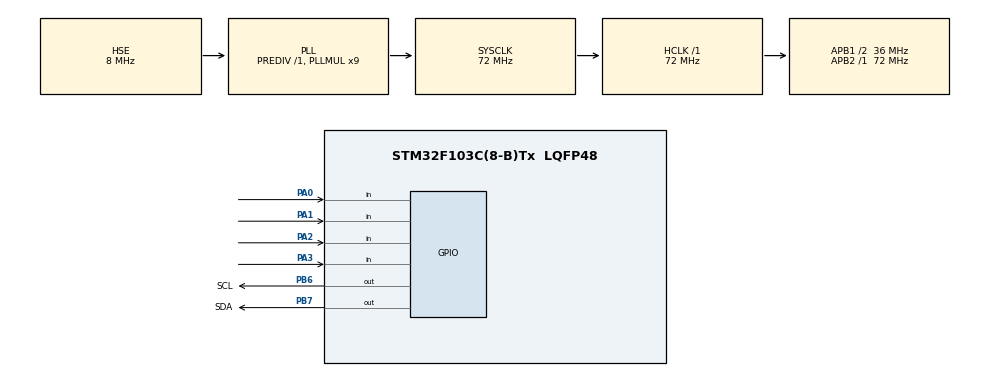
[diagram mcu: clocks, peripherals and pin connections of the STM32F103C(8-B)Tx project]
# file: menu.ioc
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Mcu.Family=STM32F1
Mcu.Name=STM32F103C(8-B)Tx
Mcu.Package=LQFP48
NVIC.PriorityGroup=NVIC_PRIORITYGROUP_4
PA0-WKUP.GPIO_PuPd=GPIO_PULLUP
PA0-WKUP.Signal=GPIO_Input
PA1.GPIO_PuPd=GPIO_PULLUP
PA1.Signal=GPIO_Input
PA2.GPIO_PuPd=GPIO_PULLUP
PA2.Signal=GPIO_Input
PA3.GPIO_PuPd=GPIO_PULLUP
PA3.Signal=GPIO_Input
PB6.GPIO_Label=SCL
PB6.GPIO_PuPd=GPIO_PULLUP
PB6.GPIO_Speed=GPIO_SPEED_FREQ_HIGH
PB6.PinState=GPIO_PIN_SET
PB6.Signal=GPIO_Output
PB7.GPIO_Label=SDA
PB7.GPIO_PuPd=GPIO_PULLUP
PB7.GPIO_Speed=GPIO_SPEED_FREQ_HIGH
PB7.PinState=GPIO_PIN_SET
PB7.Signal=GPIO_Output
PD0-OSC_IN.Mode=HSE-External-Oscillator
PD0-OSC_IN.Signal=RCC_OSC_IN
PD1-OSC_OUT.Mode=HSE-External-Oscillator
PD1-OSC_OUT.Signal=RCC_OSC_OUT
ProjectManager.HeapSize=0x200
ProjectManager.StackSize=0x400
ProjectManager.TargetToolchain=MDK-ARM V5.32
RCC.AHBFreq_Value=72000000
RCC.APB1CLKDivider=RCC_HCLK_DIV2
RCC.APB1Freq_Value=36000000
RCC.APB1TimFreq_Value=72000000
RCC.APB2Freq_Value=72000000
RCC.APB2TimFreq_Value=72000000
RCC.HCLKFreq_Value=72000000
RCC.PLLMUL=RCC_PLL_MUL9
RCC.PLLSourceVirtual=RCC_PLLSOURCE_HSE
RCC.SYSCLKFreq_VALUE=72000000
RCC.SYSCLKSource=RCC_SYSCLKSOURCE_PLLCLK
RCC.USBFreq_Value=72000000
VP_SYS_VS_ND.Mode=No_Debug
board=custom

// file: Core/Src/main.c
/* USER CODE BEGIN Header */
/**
  ******************************************************************************
  * @file           : main.c
  * @brief          : Main program body
  ******************************************************************************
  * @attention
  *
  * Copyright (c) 2023 STMicroelectronics.
  * All rights reserved.
  *
  * This software is licensed under terms that can be found in the LICENSE file
  * in the root directory of this software component.
  * If no LICENSE file comes with this software, it is provided AS-IS.
  *
  ******************************************************************************
  */
/* USER CODE END Header */
#include "main.h"
#include "gpio.h"

/* USER CODE BEGIN Includes */
#include "oled.h"
/* USER CODE END Includes */

void SystemClock_Config(void);

/* USER CODE BEGIN 0 */
uint8_t Key_scan(void)
{
	uint8_t temp=0;
	if(HAL_GPIO_ReadPin(GPIOA,GPIO_PIN_0)==GPIO_PIN_SET) temp=1;
	if(HAL_GPIO_ReadPin(GPIOA,GPIO_PIN_1)==GPIO_PIN_SET) temp=2;
	if(HAL_GPIO_ReadPin(GPIOA,GPIO_PIN_2)==GPIO_PIN_SET) temp=3;
	if(HAL_GPIO_ReadPin(GPIOA,GPIO_PIN_3)==GPIO_PIN_SET) temp=4;
	return temp;
}

typedef struct
{
	uint8_t current;
	uint8_t down;
	uint8_t up;
	uint8_t enter;
	void (*current_operation)();
}Menu_Info;

Menu_Info Menu[]=
{
	//��һ��
	{0,1,1,2,(*func_a)},
	{1,0,0,7,(*func_b)},

	//�ڶ���
	{2,3,6,0,(*func_a1)},
	{3,4,2,16,(*func_a2)},
	{4,5,3,19,(*func_a3)},
	{5,6,4,22,(*func_a4)},
	{6,2,5,0,(*func_a5)},

	{7,8,11,22,(*func_b1)},
	{8,9,7,25,(*func_b2)},
	{9,10,8,28,(*func_b3)},
	{10,11,9,31,(*func_b4)},
	{11,7,10,1,(*func_b5)},

	//������
	{12,13,14,2,(*func_a11)},
//	{13,14,12,2,(*func_a12)},
//	{14,12,13,2,(*func_a23)},

	{16,17,18,3,(*func_a12)},
//	{17,18,16,3,(*func_a22)},
//	{18,16,17,3,(*func_a23)},

	{19,20,21,4,(*func_a13)},
//	{20,21,19,4,(*func_a42)},
//	{21,19,20,4,(*func_a43)},

	{22,23,24,5,(*func_b14)},
//	{23,24,22,5,(*func_b12)},
//	{24,22,23,5,(*func_b13)},
//

	{25,26,27,6,(*func_b21)},
//	{26,27,25,6,(*func_b22)},
//	{27,25,26,6,(*func_b23)},

	{28,29,30,7,(*func_b22)},
//	{29,30,28,7,(*func_b32)},
//	{30,28,29,7,(*func_b33)},

	{31,32,33,8,(*func_b23)},
//	{32,33,31,8,(*func_b42)},
//	{33,31,32,8,(*func_b43)},

};

void func_a()
{
	OLED_Display_Clear();
	OLED_Display_Buffer(0,0,"Base");
	OLED_Display_Buffer(2,2,"Expand");
	OLED_Display_Buffer(0,13,"<--");
}

void func_b()
{
	OLED_Display_Clear();
	OLED_Display_Buffer(0,0,"base");
	OLED_Display_Buffer(2,2,"expand");
	OLED_Display_Buffer(2,13,"<--");
}

void func_a1()
{
	OLED_Display_Clear();
  OLED_Display_Buffer(0,0,"Reset");
	OLED_Display_Buffer(2,2,"screencircle");
	OLED_Display_Buffer(4,2,"A4circle");
	OLED_Display_Buffer(6,2,"SuperA4circle");
	OLED_Display_Buffer(2,13,"<--");
}

void func_a2()
{
	OLED_Display_Clear();
  OLED_Display_Buffer(0,0,"Reset");
	OLED_Display_Buffer(2,2,"screencircle");
	OLED_Display_Buffer(4,2,"A4circle");
	OLED_Display_Buffer(6,2,"SuperA4circle");
	OLED_Display_Buffer(4,13,"<--");
}

void func_a3()
{
	OLED_Display_Clear();
  OLED_Display_Buffer(0,0,"Reset");
	OLED_Display_Buffer(2,2,"screencircle");
	OLED_Display_Buffer(4,2,"A4circle");
	OLED_Display_Buffer(6,2,"SuperA4circle");
	OLED_Display_Buffer(6,13,"<--");
}

void func_a4()
{

}

void func_b1()
{
	OLED_Display_Clear();
  OLED_Display_Buffer(0,0,"Track");
	OLED_Display_Buffer(2,2,"Supertrack");
	OLED_Display_Buffer(4,2,"Stop");
	OLED_Display_Buffer(0,13,"<--");
}

void func_b2()
{
	OLED_Display_Clear();
  OLED_Display_Buffer(0,0,"Track");
	OLED_Display_Buffer(2,2,"Supertrack");
	OLED_Display_Buffer(4,2,"Stop");
	OLED_Display_Buffer(2,13,"<--");
}

void func_b3()
{
	OLED_Display_Clear();
  OLED_Display_Buffer(0,0,"Track");
	OLED_Display_Buffer(2,2,"Supertrack");
	OLED_Display_Buffer(4,2,"Stop");
	OLED_Display_Buffer(4,13,"<--");
}

void func_b4()
{

}

void func_a11()
{
//  servo_init();
}

void func_a12()
{
//  screencircle();
}

void func_a13()
{
//   A4circle();
}

void func_a14()
{
//   superA4circle();
}

void func_a21()
{
//  Track();
}

void func_a22()
{
//  Supertrack();
}

void func_a23()
{
//   Stop();
}

void func_a24()
{
//   superA4circle();
}

uint16_t fuc_index=0;

void Menu_Key(void)
{
	if(Key_scan==1)
	{
		fuc_index=Menu[fuc_index].down;
	}
	if(Key_scan==2)
	{
		fuc_index=Menu[fuc_index].up;
	}
	if(Key_scan==3)
	{
		fuc_index=Menu[fuc_index].enter;
	}

	current_operation=Menu[fuc_index].current_operation;

}
/* USER CODE END 0 */

int main(void)
{

  /* MCU Configuration--------------------------------------------------------*/

  /* Reset of all peripherals, Initializes the Flash interface and the Systick. */
  HAL_Init();

  /* Configure the system clock */
  SystemClock_Config();

  /* Initialize all configured peripherals */
  MX_GPIO_Init();
  /* USER CODE BEGIN 2 */
	OLED_Init();
  /* USER CODE END 2 */

  /* Infinite loop */
  while (1)
  {

  }
}

void SystemClock_Config(void)
{
  RCC_OscInitTypeDef RCC_OscInitStruct = {0};
  RCC_ClkInitTypeDef RCC_ClkInitStruct = {0};

  /** Initializes the RCC Oscillators according to the specified parameters
  * in the RCC_OscInitTypeDef structure.
  */
  RCC_OscInitStruct.OscillatorType = RCC_OSCILLATORTYPE_HSE;
  RCC_OscInitStruct.HSEState = RCC_HSE_ON;
  RCC_OscInitStruct.HSEPredivValue = RCC_HSE_PREDIV_DIV1;
  RCC_OscInitStruct.HSIState = RCC_HSI_ON;
  RCC_OscInitStruct.PLL.PLLState = RCC_PLL_ON;
  RCC_OscInitStruct.PLL.PLLSource = RCC_PLLSOURCE_HSE;
  RCC_OscInitStruct.PLL.PLLMUL = RCC_PLL_MUL9;
  if (HAL_RCC_OscConfig(&RCC_OscInitStruct) != HAL_OK)
  {
    Error_Handler();
  }

  /** Initializes the CPU, AHB and APB buses clocks
  */
  RCC_ClkInitStruct.ClockType = RCC_CLOCKTYPE_HCLK|RCC_CLOCKTYPE_SYSCLK
                              |RCC_CLOCKTYPE_PCLK1|RCC_CLOCKTYPE_PCLK2;
  RCC_ClkInitStruct.SYSCLKSource = RCC_SYSCLKSOURCE_PLLCLK;
  RCC_ClkInitStruct.AHBCLKDivider = RCC_SYSCLK_DIV1;
  RCC_ClkInitStruct.APB1CLKDivider = RCC_HCLK_DIV2;
  RCC_ClkInitStruct.APB2CLKDivider = RCC_HCLK_DIV1;

  if (HAL_RCC_ClockConfig(&RCC_ClkInitStruct, FLASH_LATENCY_2) != HAL_OK)
  {
    Error_Handler();
  }
}

void Error_Handler(void)
{
  __disable_irq();
  while (1)
  {
  }
}
